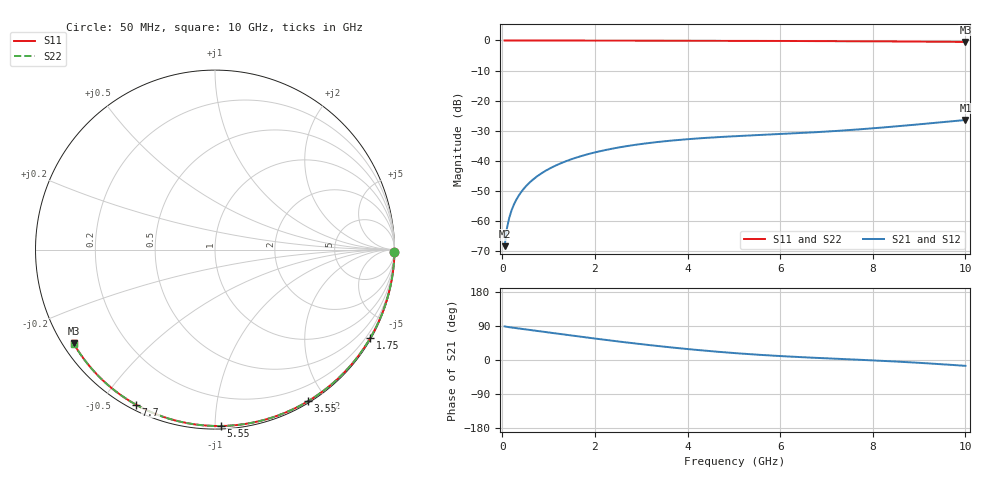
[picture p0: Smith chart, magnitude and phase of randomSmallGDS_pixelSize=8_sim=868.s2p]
! freq	dB(S11)	phase(S11)	dB(S12)	phase(S12)
!  dB(S21)	phase(S21)	dB(S22)	phase(S22)
!S-par simulation data
#  GHz  S  DB  R 50
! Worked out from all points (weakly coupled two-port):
!   200 points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, 50 MHz to 10 GHz, reference 50 ohm
!   highest |S21| = -26.42 dB at 10 GHz (marker M1); lowest = -68.3 dB at 50 MHz (marker M2)
!   lowest |S11| = -0.5 dB at 10 GHz (marker M3), VSWR 35.57, Z = 1.53 - j15.1 ohm
!   |S11| at or under -10 dB: nowhere
!   |S22| runs from -0.5 to 0.0 dB; largest |S21 - S12| = 0
!   S11 on the Smith chart (normalised r, x): 50 MHz: open; 1.75 GHz: 0.03, -3.78; 3.55 GHz: 0.02, -1.78; 5.55 GHz: 0.02, -1.03; 7.7 GHz: 0.02, -0.61; 10 GHz: 0.03, -0.30
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0.05  -0.00 -0.9  -68.32 88.6  -68.32 88.6  -0.00 -0.9
0.1  -0.00 -1.7  -62.36 87.5  -62.36 87.5  -0.00 -1.7
0.15  -0.00 -2.6  -58.89 86.5  -58.89 86.5  -0.00 -2.6
0.2  -0.00 -3.5  -56.43 85.6  -56.43 85.6  -0.00 -3.4
0.25  -0.00 -4.3  -54.53 84.8  -54.53 84.8  -0.00 -4.3
0.35  -0.00 -6.0  -51.65 83.3  -51.65 83.3  -0.00 -6.0
0.5  -0.01 -8.6  -48.60 80.9  -48.60 80.9  -0.01 -8.6
0.7  -0.01 -12.0  -45.73 77.6  -45.73 77.6  -0.01 -12.0
1  -0.02 -17.1  -42.72 72.7  -42.72 72.7  -0.02 -17.1
1.35  -0.03 -23.0  -40.25 67.0  -40.25 67.0  -0.03 -23.0
1.75  -0.04 -29.6  -38.19 60.6  -38.19 60.6  -0.04 -29.6
2.5  -0.05 -41.9  -35.58 49.0  -35.58 49.0  -0.05 -41.9
3.4  -0.08 -56.2  -33.65 36.4  -33.65 36.4  -0.08 -56.2
3.55  -0.08 -58.5  -33.41 34.4  -33.41 34.4  -0.08 -58.5
4.3  -0.10 -69.9  -32.46 25.5  -32.46 25.5  -0.10 -69.9
5.05  -0.13 -80.9  -31.78 17.9  -31.78 17.9  -0.13 -80.9
5.55  -0.15 -88.0  -31.40 13.7  -31.40 13.7  -0.15 -88.0
6.7  -0.20 -103.8  -30.53 6.1  -30.53 6.1  -0.20 -103.8
7.7  -0.27 -117.0  -29.54 0.7  -29.54 0.7  -0.27 -116.9
8.35  -0.32 -125.4  -28.74 -3.1  -28.74 -3.1  -0.32 -125.3
9.2  -0.40 -136.2  -27.57 -8.9  -27.57 -8.9  -0.40 -136.2
10  -0.49 -146.4  -26.42 -15.4  -26.42 -15.4  -0.49 -146.4
